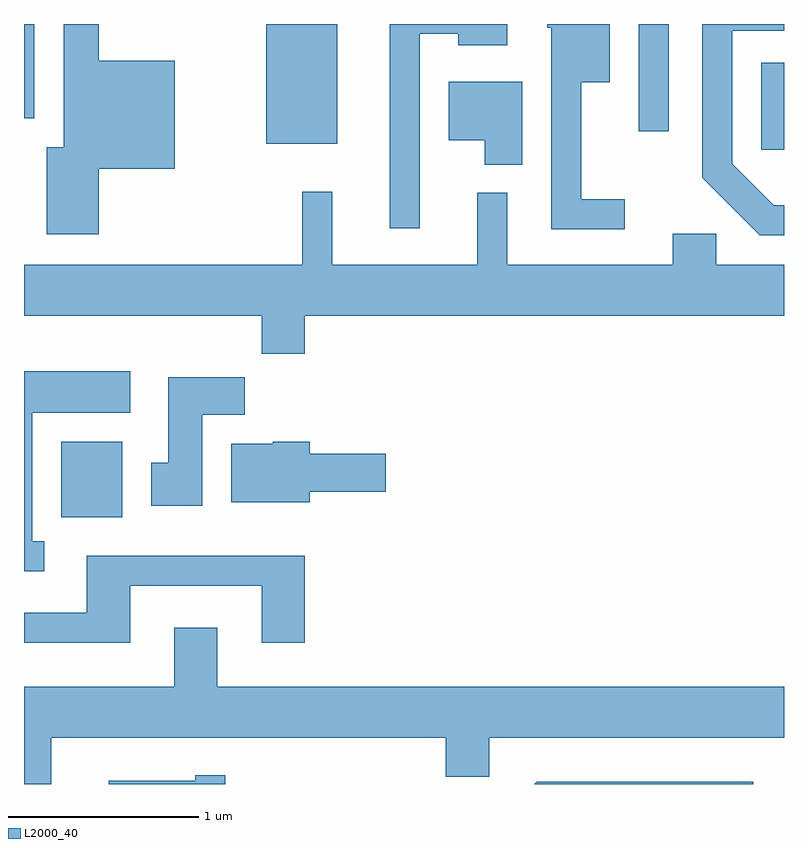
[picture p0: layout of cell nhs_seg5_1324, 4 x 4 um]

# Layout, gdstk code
import gdstk
lib = gdstk.Library(unit=1e-6, precision=1e-09)
def R(c, l, rs):  # rectangles x0, y0, x1, y1
    for r in rs: c.add(gdstk.rectangle(r[:2], r[2:], *l))
def P(c, l, *ps):  # polygons
    for p in ps: c.add(gdstk.Polygon(p, *l))
L2000_40 = (2000, 40)

nhs_seg5_1324 = lib.new_cell('nhs_seg5_1324')
R(nhs_seg5_1324, L2000_40, [(223.806,1493.476,224.129,1493.874), (227.491,1495.411,227.611,1495.869), (224.886,1495.441,225.259,1496.072), (226.846,1495.508,227.004,1496.072), (223.611,1495.576,223.664,1496.072)])
P(nhs_seg5_1324, L2000_40, [(225.694,1496.021),(225.896,1496.021),(225.896,1495.961),(226.154,1495.961),(226.154,1496.072),(225.536,1496.072),(225.536,1494.998),(225.694,1494.998)],
  [(227.611,1495.119),(227.557,1495.119),(227.339,1495.337),(227.339,1496.036),(227.611,1496.036),(227.611,1496.072),(227.181,1496.072),(227.181,1495.264),(227.484,1494.961),(227.611,1494.961)],
  [(224.004,1495.311),(224.404,1495.311),(224.404,1495.879),(224.004,1495.879),(224.004,1496.072),(223.821,1496.072),(223.821,1495.424),(223.731,1495.424),(223.731,1494.966),(224.004,1494.966)],
  [(226.773,1495.149),(226.544,1495.149),(226.544,1495.766),(226.694,1495.766),(226.694,1496.072),(226.366,1496.072),(226.366,1496.051),(226.386,1496.051),(226.386,1494.991),(226.773,1494.991)],
  [(226.234,1495.769),(225.846,1495.769),(225.846,1495.461),(226.036,1495.461),(226.036,1495.331),(226.234,1495.331)],
  [(225.089,1494.536),(227.611,1494.536),(227.611,1494.804),(227.254,1494.804),(227.254,1494.969),(227.026,1494.969),(227.026,1494.804),(226.154,1494.804),(226.154,1495.183),(225.996,1495.183),(225.996,1494.804),(225.234,1494.804),(225.234,1495.188),(225.076,1495.188),(225.076,1494.804),(223.611,1494.804),(223.611,1494.536),(224.861,1494.536),(224.861,1494.336),(225.089,1494.336)],
  [(223.718,1493.349),(223.654,1493.349),(223.654,1494.026),(224.169,1494.026),(224.169,1494.244),(223.611,1494.244),(223.611,1493.191),(223.718,1493.191)],
  [(224.549,1494.016),(224.774,1494.016),(224.774,1494.214),(224.371,1494.214),(224.371,1493.764),(224.281,1493.764),(224.281,1493.536),(224.549,1493.536)],
  [(225.114,1493.611),(225.514,1493.611),(225.514,1493.809),(225.114,1493.809),(225.114,1493.874),(224.92,1493.874),(224.92,1493.864),(224.701,1493.864),(224.701,1493.556),(225.114,1493.556)],
  [(224.169,1493.116),(224.861,1493.116),(224.861,1492.816),(225.089,1492.816),(225.089,1493.274),(223.941,1493.274),(223.941,1492.974),(223.611,1492.974),(223.611,1492.816),(224.169,1492.816)],
  [(223.754,1492.316),(225.831,1492.316),(225.831,1492.111),(226.059,1492.111),(226.059,1492.316),(227.611,1492.316),(227.611,1492.584),(224.629,1492.584),(224.629,1492.894),(224.401,1492.894),(224.401,1492.584),(223.611,1492.584),(223.611,1492.072),(223.754,1492.072)],
  [(224.669,1492.119),(224.511,1492.119),(224.511,1492.089),(224.056,1492.089),(224.056,1492.072),(224.669,1492.072)],
  [(227.448,1492.084),(226.309,1492.084),(226.297,1492.072),(227.448,1492.072)])

lib.write_gds('nhs_seg5_1324.gds')
